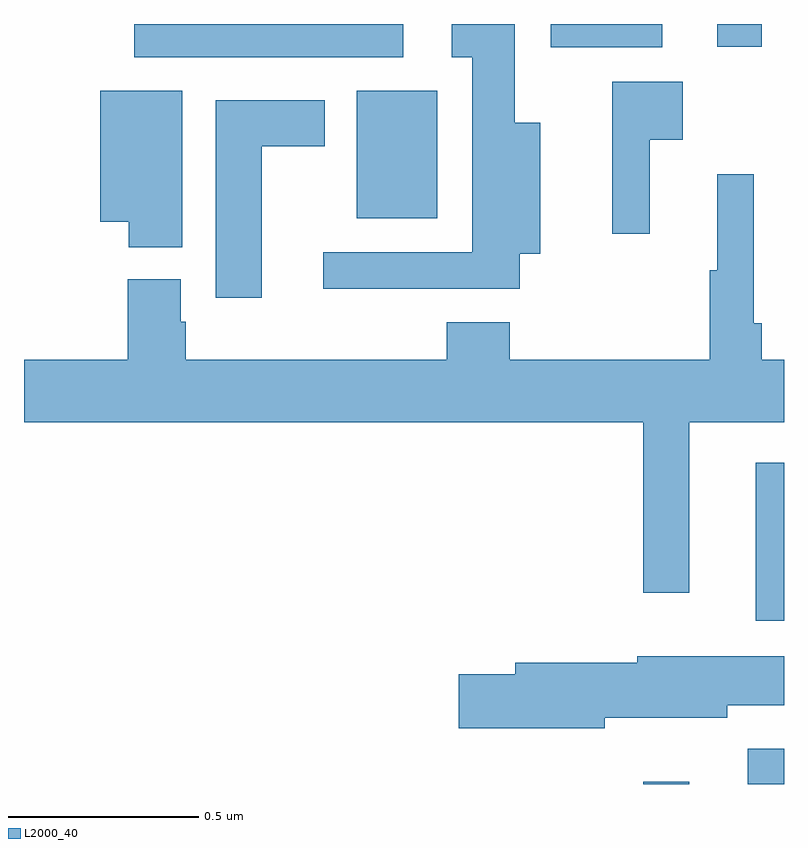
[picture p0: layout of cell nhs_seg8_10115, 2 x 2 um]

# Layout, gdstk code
import gdstk
lib = gdstk.Library(unit=1e-6, precision=1e-09)
def R(c, l, rs):  # rectangles x0, y0, x1, y1
    for r in rs: c.add(gdstk.rectangle(r[:2], r[2:], *l))
def P(c, l, *ps):  # polygons
    for p in ps: c.add(gdstk.Polygon(p, *l))
L2000_40 = (2000, 40)

nhs_seg8_10115 = lib.new_cell('nhs_seg8_10115')
R(nhs_seg8_10115, L2000_40, [(246.63,1096.9,246.751,1096.906), (246.905,1096.9,247,1096.993), (246.926,1097.33,247,1097.746), (245.876,1098.389,246.088,1098.724), (245.29,1098.813,245.998,1098.9), (246.386,1098.839,246.679,1098.9), (246.824,1098.84,246.941,1098.9)])
P(nhs_seg8_10115, L2000_40, [(246.305,1098.296),(246.358,1098.296),(246.358,1098.64),(246.292,1098.64),(246.292,1098.9),(246.125,1098.9),(246.125,1098.812),(246.179,1098.812),(246.179,1098.3),(245.787,1098.3),(245.787,1098.203),(246.305,1098.203)],
  [(246.647,1098.596),(246.733,1098.596),(246.733,1098.748),(246.548,1098.748),(246.548,1098.348),(246.647,1098.348)],
  [(245.416,1098.724),(245.201,1098.724),(245.201,1098.38),(245.275,1098.38),(245.275,1098.313),(245.416,1098.313)],
  [(245.626,1098.578),(245.791,1098.578),(245.791,1098.7),(245.504,1098.7),(245.504,1098.18),(245.626,1098.18)],
  [(246.751,1097.852),(247,1097.852),(247,1098.016),(246.941,1098.016),(246.941,1098.112),(246.921,1098.112),(246.921,1098.505),(246.824,1098.505),(246.824,1098.252),(246.805,1098.252),(246.805,1098.016),(246.278,1098.016),(246.278,1098.115),(246.113,1098.115),(246.113,1098.016),(245.426,1098.016),(245.426,1098.117),(245.413,1098.117),(245.413,1098.228),(245.273,1098.228),(245.273,1098.016),(245,1098.016),(245,1097.852),(246.63,1097.852),(246.63,1097.403),(246.751,1097.403)],
  [(246.528,1097.075),(246.85,1097.075),(246.85,1097.107),(247,1097.107),(247,1097.236),(246.614,1097.236),(246.614,1097.219),(246.293,1097.219),(246.293,1097.189),(246.144,1097.189),(246.144,1097.047),(246.528,1097.047)])

lib.write_gds('nhs_seg8_10115.gds')
